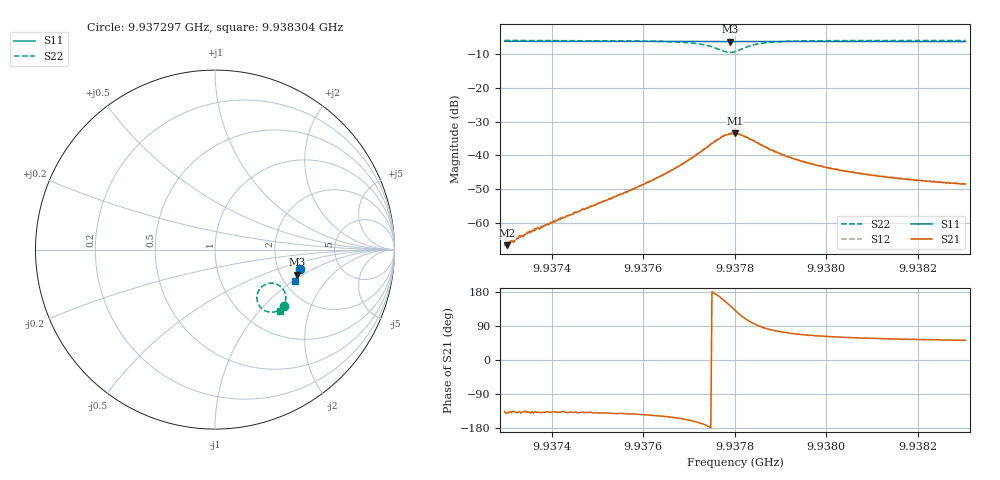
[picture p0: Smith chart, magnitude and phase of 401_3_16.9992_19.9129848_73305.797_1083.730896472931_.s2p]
#  HZ  S  RI  R  50.00
! Rohde & Schwarz Vector Network Analyzer
! Rohde-Schwarz,ZNB20-2Port,1311601062101988,3.16
! Created: UTC 3/20/2024, 11:10:03 PM
! freq[Hz]  re:S11  im:S11  re:S21  im:S21  re:S12  im:S12  re:S22  im:S22
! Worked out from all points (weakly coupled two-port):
!   401 points, 9.937297 GHz to 9.938304 GHz, reference 50 ohm
!   highest |S21| = -33.50 dB at 9.937801 GHz (marker M1); lowest = -66.5 dB at 9.937302 GHz (marker M2)
!   lowest |S11| = -6.4 dB at 9.93779 GHz (marker M3), VSWR 2.84, Z = 123 - j44.5 ohm
!   |S11| at or under -10 dB: nowhere
!   |S22| runs from -9.6 to -6.1 dB; largest |S21 - S12| = 0.00095
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9.9372968e9  0.4713 -0.1083  -0.000347 -0.000334  -0.000329 -0.000319  0.3841 -0.3165
9.9373019e9  0.4712 -0.1084  -0.000362 -0.000307  -0.000383 -0.000326  0.3839 -0.317
9.937322e9  0.4708 -0.1098  -0.000431 -0.000384  -0.00044 -0.000372  0.3824 -0.3183
9.937327e9  0.4708 -0.1101  -0.000442 -0.000405  -0.000445 -0.00041  0.3819 -0.3186
9.9373472e9  0.4703 -0.1117  -0.000539 -0.000501  -0.000559 -0.000421  0.3803 -0.3202
9.9373799e9  0.4697 -0.1137  -0.000653 -0.000593  -0.000675 -0.000618  0.3777 -0.3225
9.9373976e9  0.4692 -0.1149  -0.000768 -0.000695  -0.00077 -0.00068  0.3761 -0.3241
9.9374656e9  0.4679 -0.1196  -0.00117 -0.00107  -0.00118 -0.00106  0.3692 -0.3296
9.9375613e9  0.4656 -0.126  -0.00225 -0.00176  -0.00229 -0.00173  0.3549 -0.3384
9.9376343e9  0.4638 -0.1309  -0.00406 -0.00259  -0.00417 -0.00255  0.3362 -0.346
9.9376847e9  0.4622 -0.1344  -0.00671 -0.00312  -0.00686 -0.00305  0.3121 -0.3489
9.9377351e9  0.4605 -0.1375  -0.0125 -0.00188  -0.0127 -0.00155  0.266 -0.333
9.9377703e9  0.4589 -0.139  -0.0177 0.00536  -0.018 0.0059  0.233 -0.2707
9.9377905e9  0.4582 -0.1394  -0.0165 0.0127  -0.0165 0.0134  0.2533 -0.2145
9.9378006e9  0.4582 -0.1398  -0.014 0.0159  -0.0136 0.0165  0.2791 -0.195
9.9378207e9  0.4586 -0.1407  -0.00689 0.0177  -0.0065 0.0183  0.3356 -0.19
9.937856e9  0.4587 -0.1431  0.000273 0.0144  0.000713 0.0147  0.3851 -0.2298
9.9379089e9  0.4578 -0.147  0.00293 0.00963  0.0032 0.00944  0.3949 -0.2741
9.9379693e9  0.4565 -0.1513  0.00316 0.00675  0.00336 0.00677  0.3895 -0.2991
9.9380348e9  0.4548 -0.1556  0.00298 0.00518  0.00311 0.00517  0.3824 -0.3138
9.9381381e9  0.4521 -0.1623  0.00264 0.00389  0.00277 0.00394  0.3729 -0.3279
9.9383043e9  0.4474 -0.173  0.00233 0.00299  0.00238 0.00295  0.3604 -0.3424
